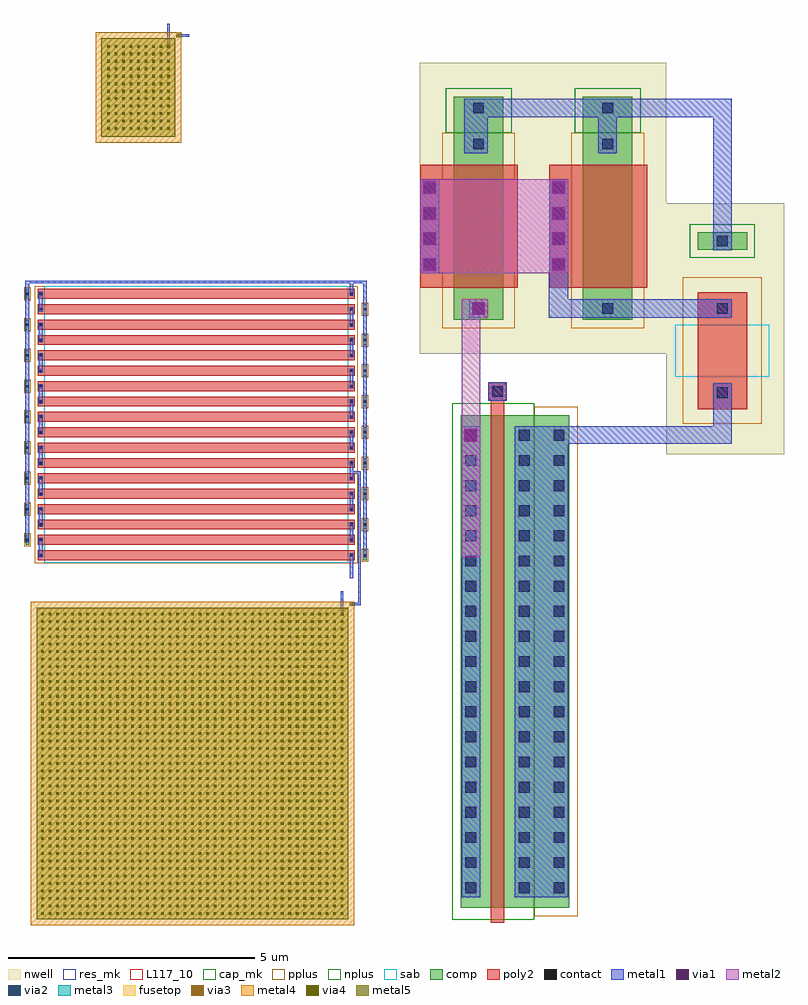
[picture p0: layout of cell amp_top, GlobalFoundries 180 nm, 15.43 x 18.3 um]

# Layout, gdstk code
from math import pi, radians
import gdstk
lib = gdstk.Library(unit=1e-6, precision=5e-09)
def R(c, l, rs):  # rectangles x0, y0, x1, y1
    for r in rs: c.add(gdstk.rectangle(r[:2], r[2:], *l))
def A(c, l, x, y, w, h, nx, ny, dx, dy):  # array of equal rectangles
    R(c, l, [(x+i*dx, y+j*dy, x+i*dx+w, y+j*dy+h) for i in range(nx) for j in range(ny)])
def P(c, l, *ps):  # polygons
    for p in ps: c.add(gdstk.Polygon(p, *l))
nwell = (21, 0)
comp = (22, 0)
poly2 = (30, 0)
pplus = (31, 0)
nplus = (32, 0)
contact = (33, 0)
metal1 = (34, 0)
via1 = (35, 0)
metal2 = (36, 0)
via2 = (38, 0)
via3 = (40, 0)
via4 = (41, 0)
metal3 = (42, 0)
metal4 = (46, 0)
sab = (49, 0)
fusetop = (75, 0)
metal5 = (81, 0)
res_mk = (110, 5)
cap_mk = (117, 5)
L117_10 = (117, 10)

ppolyf_u_resistor = lib.new_cell('ppolyf_u_resistor')
R(ppolyf_u_resistor, comp, [(-1.88,0,-1.52,1)])
R(ppolyf_u_resistor, poly2, [(-0.66,0,31.53,1)])
R(ppolyf_u_resistor, pplus, [(-0.96,-0.3,31.83,1.3), (-2.04,-0.16,-1.36,1.16)])
R(ppolyf_u_resistor, contact, [(-1.81,0.39,-1.59,0.61), (-0.44,0.39,-0.22,0.61), (31.09,0.39,31.31,0.61)])
R(ppolyf_u_resistor, metal1, [(-1.89,0.31,-1.51,0.69), (-0.52,0.31,-0.14,0.69), (31.01,0.31,31.39,0.69)])
R(ppolyf_u_resistor, sab, [(0,-0.28,30.87,1.28)])
R(ppolyf_u_resistor, res_mk, [(0,0,30.87,1)])

cap_mim = lib.new_cell('cap_mim')
A(cap_mim, via4, 0.48, 0.48, 0.26, 0.26, 41, 41, 0.76, 0.76)
R(cap_mim, metal4, [(-0.6,-0.6,32.22,32.22)])
R(cap_mim, fusetop, [(0,0,31.62,31.62)])
R(cap_mim, metal5, [(0,0,31.62,31.62)])
R(cap_mim, cap_mk, [(-0.6,-0.6,32.22,32.22)])
R(cap_mim, L117_10, [(0,0,31.62,0.1)])
cap_mim.add(gdstk.Label('top', (15.81,15.81), layer=81, texttype=10))
cap_mim.add(gdstk.Label('bot', (15.81,-0.3), layer=46, texttype=10))

ppolyf_u_resistor_4 = lib.new_cell('ppolyf_u_resistor$4')
R(ppolyf_u_resistor_4, comp, [(-1.88,0,-1.52,1)])
R(ppolyf_u_resistor_4, poly2, [(-0.66,0,31.53,1)])
R(ppolyf_u_resistor_4, pplus, [(-0.96,-0.3,31.83,1.3), (-2.04,-0.16,-1.36,1.16)])
R(ppolyf_u_resistor_4, contact, [(-1.81,0.39,-1.59,0.61), (-0.44,0.39,-0.22,0.61), (31.09,0.39,31.31,0.61)])
R(ppolyf_u_resistor_4, metal1, [(-1.89,0.31,-1.51,0.69), (-0.52,0.31,-0.14,0.69), (31.01,0.31,31.39,0.69)])
R(ppolyf_u_resistor_4, sab, [(0,-0.28,30.87,1.28)])
R(ppolyf_u_resistor_4, res_mk, [(0,0,30.87,1)])
ppolyf_u_resistor_4.add(gdstk.Label('0', (-0.33,0.5), layer=34, texttype=10))
ppolyf_u_resistor_4.add(gdstk.Label('1', (31.2,0.5), layer=34, texttype=10))

ppolyf_u_resistor_2 = lib.new_cell('ppolyf_u_resistor$2')
R(ppolyf_u_resistor_2, comp, [(-1.88,0,-1.52,1)])
R(ppolyf_u_resistor_2, poly2, [(-0.66,0,31.53,1)])
R(ppolyf_u_resistor_2, pplus, [(-0.96,-0.3,31.83,1.3), (-2.04,-0.16,-1.36,1.16)])
R(ppolyf_u_resistor_2, contact, [(-1.81,0.39,-1.59,0.61), (-0.44,0.39,-0.22,0.61), (31.09,0.39,31.31,0.61)])
R(ppolyf_u_resistor_2, metal1, [(-1.89,0.31,-1.51,0.69), (-0.52,0.31,-0.14,0.69), (31.01,0.31,31.39,0.69)])
R(ppolyf_u_resistor_2, sab, [(0,-0.28,30.87,1.28)])
R(ppolyf_u_resistor_2, res_mk, [(0,0,30.87,1)])

filter_input = lib.new_cell('filter_input')
A(filter_input, metal1, 1.22, 41.22, 0.38, 1.18, 1, 7, 0, 3.12)
A(filter_input, metal1, 32.75, 52.14, 0.38, 1.18, 1, 3, 0, 3.12)
R(filter_input, metal1, [(31.86,31.77,32.12,31.83), (31.86,31.83,32.12,32.09), (32.75,32.82,32.81,33.08), (32.81,32.82,32.84,33.08), (32.75,35.565,33.13,37.72), (34.12,37.705,34.5,37.72), (1.22,37.71,1.6,37.72), (1.22,38.05,1.6,39.305), (34.12,38.075,34.24,53.32), (32.75,38.1,33.13,38.12), (-0.15,39.245,0.23,39.28), (32.75,39.255,33.13,39.28), (-0.15,39.28,0.23,63.395), (32.75,39.565,33.13,40.865), (1.22,39.66,1.6,39.67), (1.22,40.825,1.6,40.84), (32.75,41.22,33.13,41.235), (32.75,42.385,33.13,42.4), (32.75,42.725,33.13,43.96), (1.22,42.78,1.6,42.795), (1.22,43.945,1.6,43.96), (32.75,44.34,33.13,44.355), (32.75,45.5,33.13,45.52), (32.75,45.82,33.13,47.12), (1.22,45.9,1.6,45.915), (1.22,47.065,1.6,47.08), (32.75,47.46,33.13,47.48), (32.75,48.62,33.13,48.64), (32.75,48.915,33.13,50.2), (1.22,49.02,1.6,49.03), (1.22,50.18,1.6,50.2), (32.75,50.58,33.13,50.595), (32.75,51.74,33.13,51.76), (1.22,52.14,1.6,52.16), (1.22,53.305,1.6,53.32), (32.75,53.7,33.13,53.72), (34.12,53.7,34.24,56.44), (32.75,54.865,33.13,54.88), (1.22,55.26,1.6,55.275), (1.22,56.425,1.6,56.44), (32.75,56.82,33.13,56.845), (34.12,56.82,34.24,59.56), (32.75,57.98,33.13,58), (33.02,58.18,33.07,58.44), (1.22,58.38,1.6,58.4), (1.22,59.545,1.6,59.56), (32.75,59.94,33.13,59.965), (34.12,59.94,34.5,62.63), (32.75,61.11,33.13,61.12), (32.75,61.12,33.13,63.06), (1.22,61.5,1.6,61.515), (34.12,62.63,34.5,65.785), (1.22,62.645,1.6,62.68), (1.22,62.68,1.6,64.655), (32.75,63.06,33.13,63.075), (-0.15,63.395,0.23,65.785), (32.75,64.22,33.13,64.24), (32.75,64.24,33.13,65.655)])
P(filter_input, metal1, [(34.12,59.56),(34.12,59.56),(34.24,59.56),(34.24,59.56)],
  [(34.12,59.56),(34.12,59.56),(34.24,59.56),(34.24,59.56)],
  [(32.75,51.76),(32.75,51.76),(33.13,51.76),(33.13,51.76)],
  [(7.845,63.03),(7.845,63.03),(7.845,63.03),(7.845,63.03)],
  [(32.75,64.24),(32.75,64.24),(33.13,64.24),(33.13,64.24)])
R(filter_input, via1, [(31.86,31.83,32.12,32.09), (32.81,32.82,33.07,33.08)])
P(filter_input, via1, [(32.895,33.06),(32.895,33.06),(32.895,33.06),(32.895,33.06)])
R(filter_input, metal2, [(31.82,31.77,32.16,32.305), (32.75,32.78,33.285,32.82), (32.75,32.82,33.285,33.08), (32.75,33.08,33.285,33.12)])
R(filter_input, via2, [(32.81,32.82,33.07,33.08)])
R(filter_input, via3, [(32.81,32.82,33.07,33.08)])
R(filter_input, metal3, [(32.75,32.78,33.285,33.12)])
filter_input.add(gdstk.FlexPath([(34.37,64.465),(34.37,65.655),(0.1,65.655),(0.1,65.625),(0.1,65.625)], 0.26, ends="flush", simple_path=True, layer=34, datatype=0))  # metal1
filter_input.add(gdstk.FlexPath([(1.41,39.355),(1.41,37.905)], 0.26, ends="flush", simple_path=True, layer=34, datatype=0))  # metal1
filter_input.add(gdstk.FlexPath([(1.41,42.4),(1.41,41.14)], 0.26, ends="flush", simple_path=True, layer=34, datatype=0))  # metal1
filter_input.add(gdstk.FlexPath([(1.41,45.52),(1.41,44.15)], 0.26, ends="flush", simple_path=True, layer=34, datatype=0))  # metal1
filter_input.add(gdstk.FlexPath([(1.41,48.64),(1.41,47.27)], 0.26, ends="flush", simple_path=True, layer=34, datatype=0))  # metal1
filter_input.add(gdstk.FlexPath([(1.41,51.76),(1.41,50.5)], 0.26, ends="flush", simple_path=True, layer=34, datatype=0))  # metal1
filter_input.add(gdstk.FlexPath([(1.41,54.88),(1.41,53.62)], 0.26, ends="flush", simple_path=True, layer=34, datatype=0))  # metal1
filter_input.add(gdstk.FlexPath([(1.41,58),(1.41,56.63),(1.41,56.63)], 0.26, ends="flush", simple_path=True, layer=34, datatype=0))  # metal1
filter_input.add(gdstk.FlexPath([(1.41,61.12),(1.41,59.86),(1.41,59.86)], 0.26, ends="flush", simple_path=True, layer=34, datatype=0))  # metal1
filter_input.add(gdstk.FlexPath([(31.99,32.09),(31.99,34.26)], 0.26, ends="flush", simple_path=True, layer=34, datatype=0))  # metal1
filter_input.add(gdstk.FlexPath([(34.37,59.945),(34.37,37.725)], 0.26, ends="flush", simple_path=True, layer=34, datatype=0))  # metal1
filter_input.add(gdstk.FlexPath([(32.94,59.57),(32.94,58.31),(33.05,58.31)], 0.26, ends="flush", simple_path=True, layer=34, datatype=0))  # metal1
filter_input.add(gdstk.FlexPath([(32.94,56.44),(32.94,55.07),(32.94,55.07)], 0.26, ends="flush", simple_path=True, layer=34, datatype=0))  # metal1
filter_input.add(gdstk.FlexPath([(32.94,53.32),(32.94,51.95)], 0.26, ends="flush", simple_path=True, layer=34, datatype=0))  # metal1
filter_input.add(gdstk.FlexPath([(32.94,50.2),(32.94,48.72)], 0.26, ends="flush", simple_path=True, layer=34, datatype=0))  # metal1
filter_input.add(gdstk.FlexPath([(32.94,47.16),(32.94,45.71)], 0.26, ends="flush", simple_path=True, layer=34, datatype=0))  # metal1
filter_input.add(gdstk.FlexPath([(33.04,46.33),(33.75,46.33),(33.75,34.35),(33.75,34.35)], 0.26, ends="flush", simple_path=True, layer=34, datatype=0))  # metal1
filter_input.add(gdstk.FlexPath([(32.94,43.96),(32.94,42.59)], 0.26, ends="flush", simple_path=True, layer=34, datatype=0))  # metal1
filter_input.add(gdstk.FlexPath([(32.94,40.92),(32.94,39.47)], 0.26, ends="flush", simple_path=True, layer=34, datatype=0))  # metal1
filter_input.add(gdstk.FlexPath([(32.94,37.72),(32.94,35.57)], 0.26, ends="flush", simple_path=True, layer=34, datatype=0))  # metal1
filter_input.add(gdstk.FlexPath([(33.75,34.35),(33.75,32.95),(32.84,32.95),(32.84,32.95)], 0.26, ends="flush", simple_path=True, layer=34, datatype=0))  # metal1
filter_input.add(gdstk.Reference(ppolyf_u_resistor, (32.61,44.65), rotation=pi))
filter_input.add(gdstk.Reference(cap_mim, (32.6,32.57), rotation=pi))
filter_input.add(gdstk.Reference(ppolyf_u_resistor, (1.74,42.09)))
filter_input.add(gdstk.Reference(ppolyf_u_resistor, (1.74,51.45)))
filter_input.add(gdstk.Reference(ppolyf_u_resistor, (32.61,54.01), rotation=pi))
filter_input.add(gdstk.Reference(ppolyf_u_resistor, (32.61,57.13), rotation=pi))
filter_input.add(gdstk.Reference(ppolyf_u_resistor, (1.74,48.33)))
filter_input.add(gdstk.Reference(ppolyf_u_resistor, (32.61,47.77), rotation=pi))
filter_input.add(gdstk.Reference(ppolyf_u_resistor, (1.74,45.21)))
filter_input.add(gdstk.Reference(ppolyf_u_resistor_4, (1.74,38.97)))
filter_input.add(gdstk.Reference(ppolyf_u_resistor, (1.74,54.57)))
filter_input.add(gdstk.Reference(ppolyf_u_resistor, (1.74,57.69)))
filter_input.add(gdstk.Reference(ppolyf_u_resistor, (32.61,50.89), rotation=pi))
filter_input.add(gdstk.Reference(ppolyf_u_resistor, (32.61,60.25), rotation=pi))
filter_input.add(gdstk.Reference(ppolyf_u_resistor_4, (32.61,38.41), rotation=pi))
filter_input.add(gdstk.Reference(ppolyf_u_resistor, (32.61,41.53), rotation=pi))
filter_input.add(gdstk.Reference(ppolyf_u_resistor, (1.74,60.81)))
r = gdstk.Reference(ppolyf_u_resistor_2, (32.61,63.37), rotation=pi); r.repetition = gdstk.Repetition(1, 1, v1=(0,0), v2=(0,0)); filter_input.add(r)
r = gdstk.Reference(ppolyf_u_resistor_2, (1.74,63.93)); r.repetition = gdstk.Repetition(1, 1, v1=(0,0), v2=(0,0)); filter_input.add(r)
filter_input.add(gdstk.Label('OUT', (33.815,34.225), layer=34, texttype=10))
filter_input.add(gdstk.Label('IN', (31.99,34.075), layer=34, texttype=10))
filter_input.add(gdstk.Label('GND', (32.94,35.84), layer=34, texttype=10))
filter_input.add(gdstk.Label('VDD', (34.24,38.875), layer=34, texttype=10))

core_amp = lib.new_cell('core_amp')
R(core_amp, nwell, [(0.27,15.34,2.65,21.25), (2.65,15.34,2.89,21.25)])
P(core_amp, nwell, [(5.27,13.305),(5.27,15.34),(2.89,15.34),(2.89,21.25),(5.27,21.25),(5.27,18.4),(7.66,18.4),(7.66,13.305)])
R(core_amp, comp, [(1.095,4.095,1.515,14.095), (1.515,4.095,2.175,14.095), (2.175,4.095,2.595,14.095), (2.595,4.095,3.305,14.095), (0.96,16.03,1.96,16.49), (3.58,16.03,4.58,16.49), (0.96,16.49,1.96,19.37), (3.58,16.49,4.58,19.37), (5.91,17.45,6.91,17.81), (0.96,19.37,1.96,19.83), (3.58,19.37,4.58,19.83), (0.96,19.83,1.96,20.56), (3.58,19.83,4.58,20.56)])
R(core_amp, poly2, [(1.705,3.795,1.985,14.395), (5.91,14.22,6.91,16.59), (1.665,14.395,2.025,14.755), (0.28,16.68,0.66,19.18), (0.66,16.68,2.26,19.18), (2.9,16.68,3.28,19.18), (3.28,16.68,4.88,19.18)])
R(core_amp, pplus, [(2.595,3.925,3.475,14.265), (5.61,13.92,7.21,16.89), (0.72,15.86,2.2,19.83), (3.34,15.86,4.82,19.83)])
R(core_amp, nplus, [(0.925,3.855,2.595,14.335), (5.75,17.29,7.07,17.97), (0.79,19.83,2.13,20.73), (3.41,19.83,4.75,20.73)])
A(core_amp, contact, 1.195, 4.395, 0.22, 0.22, 1, 19, 0, 0.51)
A(core_amp, contact, 2.275, 4.395, 0.22, 0.22, 1, 19, 0, 0.51)
A(core_amp, contact, 2.985, 4.395, 0.22, 0.22, 1, 19, 0, 0.51)
A(core_amp, contact, 0.36, 17.055, 0.22, 0.22, 1, 4, 0, 0.51)
A(core_amp, contact, 2.98, 17.055, 0.22, 0.22, 1, 4, 0, 0.51)
R(core_amp, contact, [(6.3,14.44,6.52,14.66), (1.735,14.465,1.955,14.685), (1.35,16.15,1.57,16.37), (3.97,16.15,4.19,16.37), (6.3,16.15,6.52,16.37), (6.3,17.52,6.52,17.74), (1.35,19.49,1.57,19.71), (3.97,19.49,4.19,19.71), (1.35,20.22,1.57,20.44), (3.97,20.22,4.19,20.44)])
R(core_amp, metal1, [(1.115,4.315,1.495,13.875), (2.195,4.315,2.575,13.875), (2.905,4.315,3.285,13.875), (1.655,14.385,2.035,14.765), (1.27,16.07,1.65,16.45), (3.89,16.07,4.27,16.45), (4.27,16.07,6.6,16.45), (2.89,16.075,3.89,16.45), (2.89,16.45,3.28,16.975), (0.28,16.975,0.66,18.885), (2.9,16.975,3.28,18.885), (1.175,19.41,1.27,20.52), (1.27,19.41,1.65,19.79), (3.89,19.41,4.27,19.79), (3.89,19.785,4.27,20.14), (1.27,19.79,1.65,20.14), (1.27,20.14,1.65,20.52), (1.65,20.14,3.89,20.52), (3.89,20.14,4.27,20.52)])
P(core_amp, metal1, [(2.575,4.315),(2.575,13.875),(6.22,13.875),(6.22,14.74),(6.6,14.74),(6.6,13.515),(2.905,13.515),(2.905,4.315)],
  [(6.22,17.44),(6.22,20.14),(4.27,20.14),(4.27,20.52),(6.6,20.52),(6.6,17.44)])
A(core_amp, via1, 0.34, 17.545, 0.26, 0.26, 1, 3, 0, 0.52)
A(core_amp, via1, 2.96, 17.545, 0.26, 0.26, 1, 3, 0, 0.52)
R(core_amp, via1, [(1.175,13.555,1.435,13.815), (1.33,16.13,1.59,16.39), (1.35,16.15,1.57,16.37), (0.34,17.015,0.6,17.275), (2.96,17.015,3.22,17.275)])
R(core_amp, metal2, [(1.115,11.21,1.495,16.45), (1.195,16.07,1.65,16.45), (0.28,16.975,3.28,18.885)])
R(core_amp, sab, [(5.455,14.88,7.365,15.93)])
R(core_amp, res_mk, [(5.91,14.88,6.91,15.93)])
core_amp.add(gdstk.Label('G', (1.845,14.575), layer=34, texttype=10))
core_amp.add(gdstk.Label('B', (3.095,9.095), layer=34, texttype=10))
core_amp.add(gdstk.Label('G', (3.09,17.93), layer=34, texttype=10))
core_amp.add(gdstk.Label('B', (4.08,20.33), layer=34, texttype=10))
core_amp.add(gdstk.Label('G', (0.47,17.93), layer=34, texttype=10))
core_amp.add(gdstk.Label('B', (1.46,20.33), layer=34, texttype=10))
core_amp.add(gdstk.Label('GND', (4.42,13.625), layer=34, texttype=10))
core_amp.add(gdstk.Label('IN', (1.725,14.52), layer=34, texttype=10))
core_amp.add(gdstk.Label('OUT', (1.29,12.61), layer=34, texttype=10))
core_amp.add(gdstk.Label('VDD', (2.35,20.24), layer=34, texttype=10))

cap_mim_1 = lib.new_cell('cap_mim$1')
A(cap_mim_1, via4, 0.69, 0.58, 0.26, 0.26, 12, 9, 0.76, 0.76)
R(cap_mim_1, metal4, [(-0.6,-0.6,10.6,8.1)])
R(cap_mim_1, fusetop, [(0,0,10,7.5)])
R(cap_mim_1, metal5, [(0,0,10,7.5)])
R(cap_mim_1, cap_mk, [(-0.6,-0.6,10.6,8.1)])
R(cap_mim_1, L117_10, [(0,0,10,0.1)])
cap_mim_1.add(gdstk.Label('t', (5,3.75), layer=81, texttype=10))
cap_mim_1.add(gdstk.Label('b', (5,-0.3), layer=46, texttype=10))

cap_output = lib.new_cell('cap_output')
R(cap_output, metal1, [(7.895,10.345,8.155,10.405), (7.895,10.405,8.155,10.665), (8.83,11.495,8.89,11.755), (8.89,11.495,8.92,11.755), (8.92,11.495,10.155,11.755)])
R(cap_output, via1, [(7.895,10.405,8.155,10.665), (8.89,11.495,9.15,11.755)])
P(cap_output, via1, [(8.975,11.735),(8.975,11.735),(8.975,11.735),(8.975,11.735)])
R(cap_output, metal2, [(7.855,10.345,8.195,10.88), (8.83,11.455,9.365,11.495), (8.83,11.495,9.365,11.755), (8.83,11.755,9.365,11.795)])
R(cap_output, via2, [(8.89,11.495,9.15,11.755)])
R(cap_output, via3, [(8.89,11.495,9.15,11.755)])
R(cap_output, metal3, [(8.83,11.455,9.365,11.795)])
cap_output.add(gdstk.FlexPath([(8.025,10.665),(8.025,12.835)], 0.26, ends="flush", simple_path=True, layer=34, datatype=0))  # metal1
r = gdstk.Reference(cap_mim_1, (8.735,1.355), rotation=pi/2); r.repetition = gdstk.Repetition(1, 1, v1=(0,0), v2=(0,0)); cap_output.add(r)
cap_output.add(gdstk.Label('GND', (10.055,11.64), layer=34, texttype=10))
cap_output.add(gdstk.Label('IN_OUT', (8.025,12.705), layer=34, texttype=10))

amp_top = lib.new_cell('amp_top')
amp_top.add(gdstk.Reference(filter_input, (0,0), magnification=0.2))
amp_top.add(gdstk.Reference(core_amp, (7.705,-3.67)))
amp_top.add(gdstk.Reference(cap_output, (1.265,15.805), magnification=0.2))

lib.write_gds('amp_top.gds')
